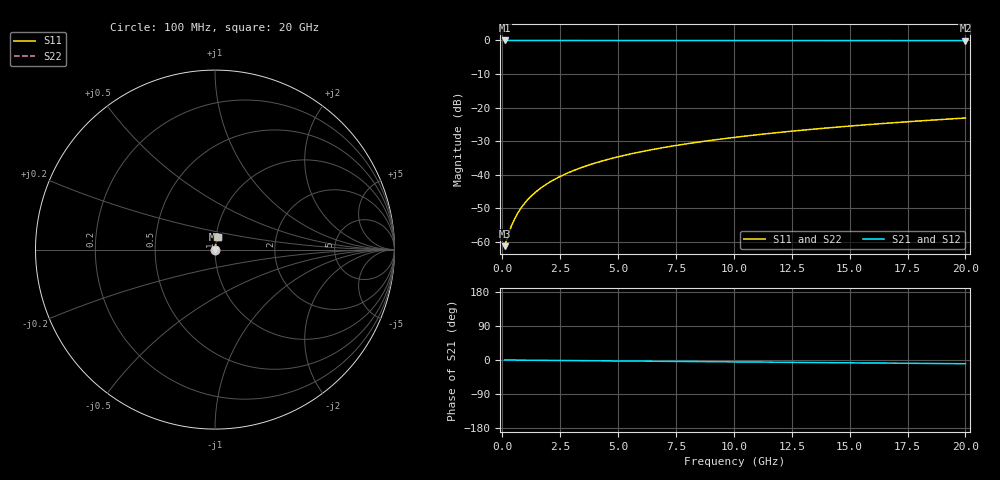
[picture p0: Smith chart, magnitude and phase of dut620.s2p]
! Touchstone file exported from HFSS 2026.1.0
!  File:  C:/ffzhzh/LocalFiles/Ansys_Project_Files/temp_train_TSV_620_1783025883_53980.aedt
!  Generated:  05:01:29 AM Jul  3, 2026
!  Design:  TSV
!  Project:  temp_train_TSV_620_1783025883_53980
! Variables:
!  h_bsmrdl = 2um
!  h_ox = 20um
!  h_rdl = 5um
!  h_sub = 94.17um
!  h_tmrdl = 5um
!  h_tsv = 94.17um
!  h_via = 3um
!  l_bsmrdl = 300um
!  l_sub = 407.6um
!  l_tmrdl = 200um
!  m_sub = 200um
!  pitch = 29.97um
!  r_tsv = 3.8um
!  s_tmrdl = 10um
!  w_bsmrdl = 18um
!  w_sub = 500um
!  w_tmrdl = 12um
!  x_tsv_center1 = 206um
!  x_tsv_center2 = 524um
!  x_tsv_center3 = 736um
!  x_tsv_center4 = 1054um
!  x_tsv_center5 = 1266um
!  x_tsv_center6 = 1584um
# GHz S MA R 50.000000
! Terminal data exported
! Port[1] = TSV1_1_T1
! Port[2] = TSV1_1_T2
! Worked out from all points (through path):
!   200 points, 100 MHz to 20 GHz, reference 50 ohm
!   highest |S21| = -0.01 dB at 100 MHz (marker M1); lowest = 0.0 dB at 20 GHz (marker M2)
!   group delay of S21, straight-line fit = 1.36 ps
!   lowest |S11| = -61.2 dB at 100 MHz (marker M3), VSWR 1.00, Z = 50.1 + j0.0396 ohm
!   |S11| at or under -10 dB: start of sweep to end of sweep
!   |S22| runs from -61.2 to -23.1 dB; largest |S21 - S12| = 6.1e-15
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0.1  0.0008667 27.2  0.9992 -0.1  0.9992 -0.1  0.0008667 27.2
! Gamma 0 0 0 0
! Port Impedance 50 0 50 0
0.3  0.001417 55.6  0.9992 -0.2  0.9992 -0.2  0.001417 55.6
0.4  0.001751 62.2  0.9992 -0.2  0.9992 -0.2  0.001751 62.2
0.5  0.002097 66.7  0.9992 -0.3  0.9992 -0.3  0.002097 66.7
0.6  0.002451 69.8  0.9992 -0.3  0.9992 -0.3  0.002451 69.8
0.7  0.00281 72.2  0.9991 -0.4  0.9991 -0.4  0.00281 72.2
0.9  0.003537 75.5  0.9991 -0.5  0.9991 -0.5  0.003537 75.5
1.2  0.004641 78.3  0.9991 -0.6  0.9991 -0.6  0.004641 78.3
1.4  0.005382 79.5  0.9991 -0.7  0.9991 -0.7  0.005382 79.5
1.7  0.006494 80.8  0.999 -0.9  0.999 -0.9  0.006494 80.8
2.2  0.008347 81.9  0.9989 -1.1  0.9989 -1.1  0.008347 81.9
2.8  0.01056 82.6  0.9988 -1.4  0.9988 -1.4  0.01056 82.6
3.5  0.01312 82.8  0.9987 -1.8  0.9987 -1.8  0.01312 82.8
4.2  0.01566 82.9  0.9985 -2.1  0.9985 -2.1  0.01566 82.9
5  0.01852 82.8  0.9983 -2.5  0.9983 -2.5  0.01852 82.8
5.9  0.02172 82.6  0.9981 -3.0  0.9981 -3.0  0.02172 82.6
6.8  0.02488 82.4  0.9979 -3.4  0.9979 -3.4  0.02488 82.4
8.3  0.03011 82.0  0.9975 -4.1  0.9975 -4.1  0.03011 82.0
10.1  0.03634 81.4  0.9971 -5.0  0.9971 -5.0  0.03634 81.4
13.4  0.04767 80.2  0.9962 -6.6  0.9962 -6.6  0.04767 80.2
16.7  0.05891 78.9  0.9953 -8.2  0.9953 -8.2  0.05891 78.9
20  0.07005 77.5  0.9943 -9.8  0.9943 -9.8  0.07005 77.5
